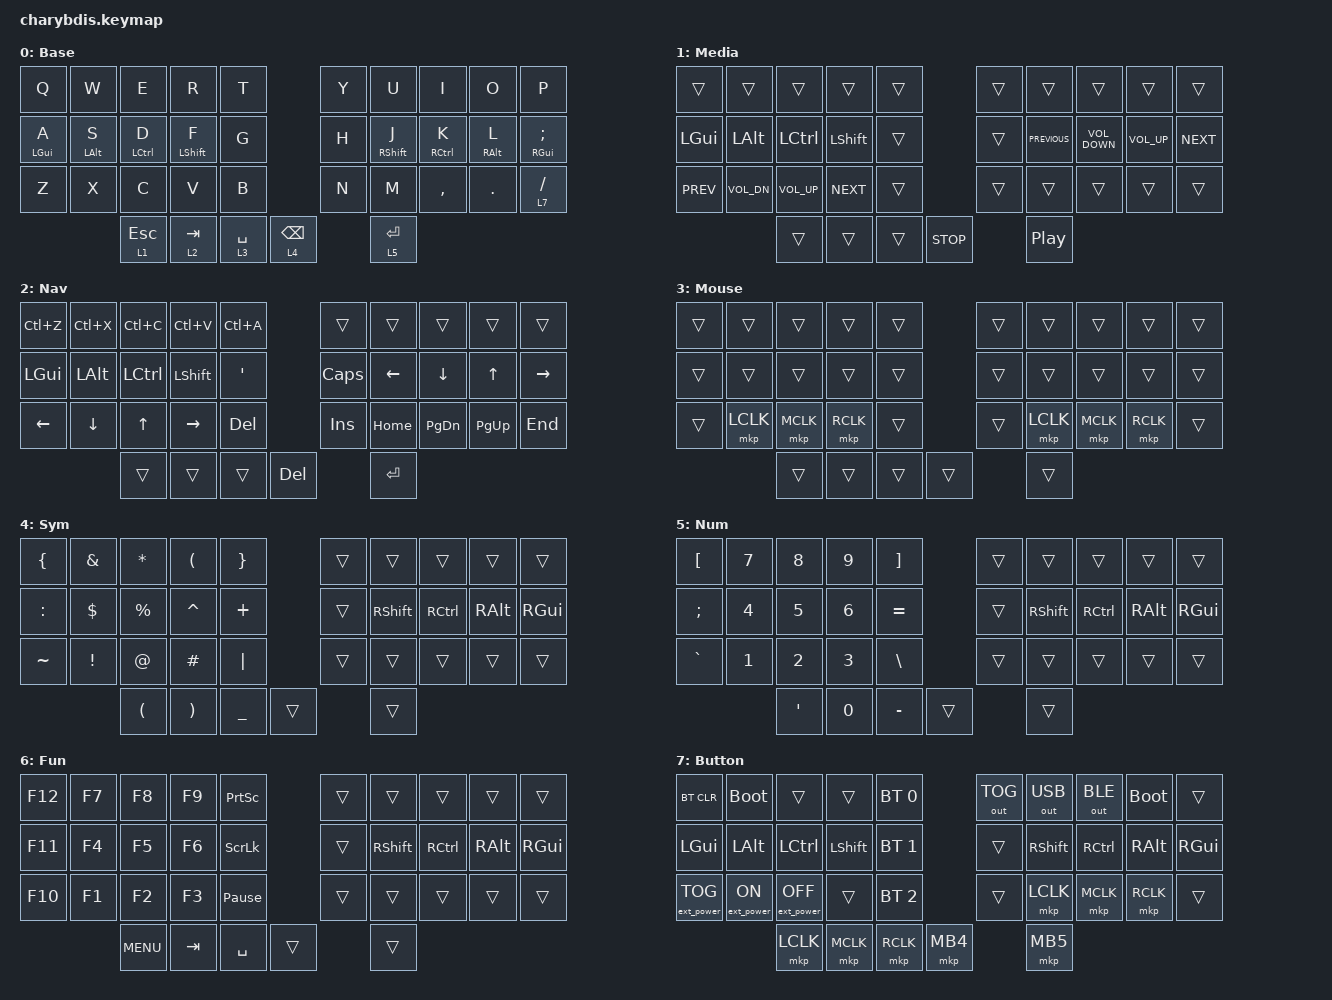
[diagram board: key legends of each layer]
#include <behaviors.dtsi>
#include <dt-bindings/zmk/keys.h>
#include <dt-bindings/zmk/bt.h>
#include <dt-bindings/zmk/ext_power.h>
#include <dt-bindings/zmk/mouse.h>
#include <dt-bindings/zmk/outputs.h>

#define Base 0
#define Media 1
#define Nav 2
#define Mouse 3
#define Sym 4
#define Num 5
#define Fun 6
#define Button 7

/ {
    trackball_listener {
        compatible = "zmk,input-behavior-listener";
        device = <&vtrackball>;
        layers = <0>;
        evt-type = <INPUT_EV_REL>;
        x-input-code = <INPUT_REL_X>;
        y-input-code = <INPUT_REL_Y>;
        scale-multiplier = <1>;
        scale-divisor = <6>;
    };

    trackball_snipe_listener {
        compatible = "zmk,input-behavior-listener";   
        device = <&vtrackball>;
        layers = <7>;
        evt-type = <INPUT_EV_REL>;
        x-input-code = <INPUT_REL_X>;
        y-input-code = <INPUT_REL_Y>;
        scale-multiplier = <1>;
        scale-divisor = <16>;
    };

    trackball_scroll_listener {
        compatible = "zmk,input-behavior-listener";
        device = <&vtrackball>;
        layers = <2>;
        evt-type = <INPUT_EV_REL>;            
        x-input-code = <INPUT_REL_MISC>;
        y-input-code = <INPUT_REL_WHEEL>;
        y-invert;
        bindings = <&ib_wheel_scaler 1 8>;
    };

    ib_wheel_scaler: ib_wheel_scaler {
        compatible = "zmk,input-behavior-scaler";
        #binding-cells = <2>;
        evt-type = <INPUT_EV_REL>;
        input-code = <INPUT_REL_WHEEL>;
    };

    behaviors {
        hm: homerow_mods {
            compatible = "zmk,behavior-hold-tap";
            #binding-cells = <2>;
            flavor = "tap-preferred";
            tapping-term-ms = <240>;
            quick-tap-ms = <150>;
            bindings =
                <&kp>,
                <&kp>;
        };

        lt: layer_tap {
            compatible = "zmk,behavior-hold-tap";
            #binding-cells = <2>;
            flavor = "balanced";
            tapping-term-ms = <240>;
            quick-tap-ms = <150>;
            bindings = 
                <&mo>,
                <&kp>;
        };
    };

    chosen {
        zmk,matrix_transform = &five_column_transform;
    };

    keymap {
        compatible = "zmk,keymap";

        Base {
            bindings = <
            &kp Q       &kp W       &kp E         &kp R         &kp T                       &kp Y        &kp U        &kp I       &kp O               &kp P               
            &hm LGUI A  &hm LALT S  &hm LCTRL D   &hm LSHIFT F  &kp G                       &kp H  &hm RSHFT J  &hm RCTRL K  &hm RALT L  &hm RGUI SEMICOLON  
            &kp Z       &kp X       &kp C         &kp V         &kp B                       &kp N        &kp M    &kp COMMA     &kp DOT         &lt 7 SLASH         
                                    &lt 1 ESCAPE  &lt 2 TAB     &lt 3 SPACE       &lt 4 BACKSPACE  &lt 5 ENTER
            >;
        };

        Media {
            bindings = <
            &trans        &trans          &trans          &trans      &trans              &trans            &trans             &trans           &trans      &trans  
            &kp LGUI      &kp LALT        &kp LCTRL       &kp LSHIFT  &trans              &trans    &kp C_PREVIOUS  &kp C_VOLUME_DOWN  &kp C_VOLUME_UP  &kp C_NEXT  
            &kp C_PREV    &kp C_VOL_DN    &kp C_VOL_UP    &kp C_NEXT  &trans              &trans            &trans             &trans           &trans      &trans  
                                          &trans          &trans      &trans          &kp C_STOP  &kp C_PLAY_PAUSE
            >;
        };

        Nav {
            bindings = <
            &kp LC(Z)     &kp LC(X)   &kp LC(C)   &kp LC(V)   &kp LC(A)                     &trans     &trans         &trans       &trans       &trans  
            &kp LEFT_GUI  &kp LALT    &kp LCTRL   &kp LSHIFT  &kp SQT                     &kp CAPS   &kp LEFT       &kp DOWN       &kp UP    &kp RIGHT  
            &kp LEFT      &kp DOWN    &kp UP      &kp RIGHT   &kp DELETE                &kp INSERT   &kp HOME  &kp PAGE_DOWN  &kp PAGE_UP      &kp END  
                                      &trans      &trans      &trans                    &kp DELETE  &kp ENTER
            >;
        };

        Mouse {
            bindings = <
            &trans    &trans      &trans      &trans      &trans              &trans         &trans     &trans     &trans  &trans  
            &trans    &trans      &trans      &trans      &trans              &trans         &trans     &trans     &trans  &trans  
            &trans    &mkp LCLK   &mkp MCLK   &mkp RCLK   &trans              &trans      &mkp LCLK  &mkp MCLK  &mkp RCLK  &trans  
                                  &trans      &trans      &trans              &trans         &trans
            >;
        };

        Sym {
            bindings = <
            &kp LEFT_BRACE  &kp AMPERSAND  &kp ASTERISK          &kp LEFT_PARENTHESIS   &kp RIGHT_BRACE       &trans      &trans     &trans    &trans    &trans  
            &kp COLON       &kp DOLLAR     &kp PERCENT           &kp CARET              &kp PLUS              &trans  &kp RSHIFT  &kp RCTRL  &kp RALT  &kp RGUI  
            &kp TILDE       &kp EXCL       &kp AT                &kp HASH               &kp PIPE              &trans      &trans     &trans    &trans    &trans  
                                           &kp LEFT_PARENTHESIS  &kp RIGHT_PARENTHESIS  &kp UNDERSCORE        &trans      &trans
            >;
        };

        Num {
            bindings = <
            &kp LEFT_BRACKET  &kp NUMBER_7  &kp NUMBER_8  &kp NUMBER_9  &kp RIGHT_BRACKET       &trans      &trans     &trans    &trans    &trans  
            &kp SEMICOLON     &kp NUMBER_4  &kp NUMBER_5  &kp NUMBER_6  &kp EQUAL               &trans  &kp RSHIFT  &kp RCTRL  &kp RALT  &kp RGUI  
            &kp GRAVE         &kp NUMBER_1  &kp NUMBER_2  &kp NUMBER_3  &kp BACKSLASH           &trans      &trans     &trans    &trans    &trans  
                                            &kp SQT       &kp NUMBER_0  &kp MINUS               &trans      &trans
            >;
        };

        Fun {
            bindings = <
            &kp F12     &kp F7   &kp F8      &kp F9   &kp PRINTSCREEN          &trans      &trans     &trans    &trans    &trans  
            &kp F11     &kp F4   &kp F5      &kp F6   &kp SCROLLLOCK           &trans  &kp RSHIFT  &kp RCTRL  &kp RALT  &kp RGUI  
            &kp F10     &kp F1   &kp F2      &kp F3   &kp PAUSE_BREAK          &trans      &trans     &trans    &trans    &trans  
                                 &kp C_MENU  &kp TAB  &kp SPACE                &trans      &trans
            >;
        };

        Button {
            bindings = <
            &bt BT_CLR            &bootloader         &trans              &trans          &bt BT_SEL 0       &out OUT_TOG  &out OUT_USB   &out OUT_BLE  &bootloader    &trans  
            &kp LGUI              &kp LALT            &kp LCTRL           &kp LSHIFT      &bt BT_SEL 1             &trans    &kp RSHIFT      &kp RCTRL     &kp RALT  &kp RGUI  
            &ext_power EP_TOG     &ext_power EP_ON    &ext_power EP_OFF   &trans          &bt BT_SEL 2             &trans     &mkp LCLK      &mkp MCLK    &mkp RCLK    &trans  
                                                      &mkp LCLK           &mkp MCLK       &mkp RCLK              &mkp MB4      &mkp MB5
            >;
        };
    };
};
